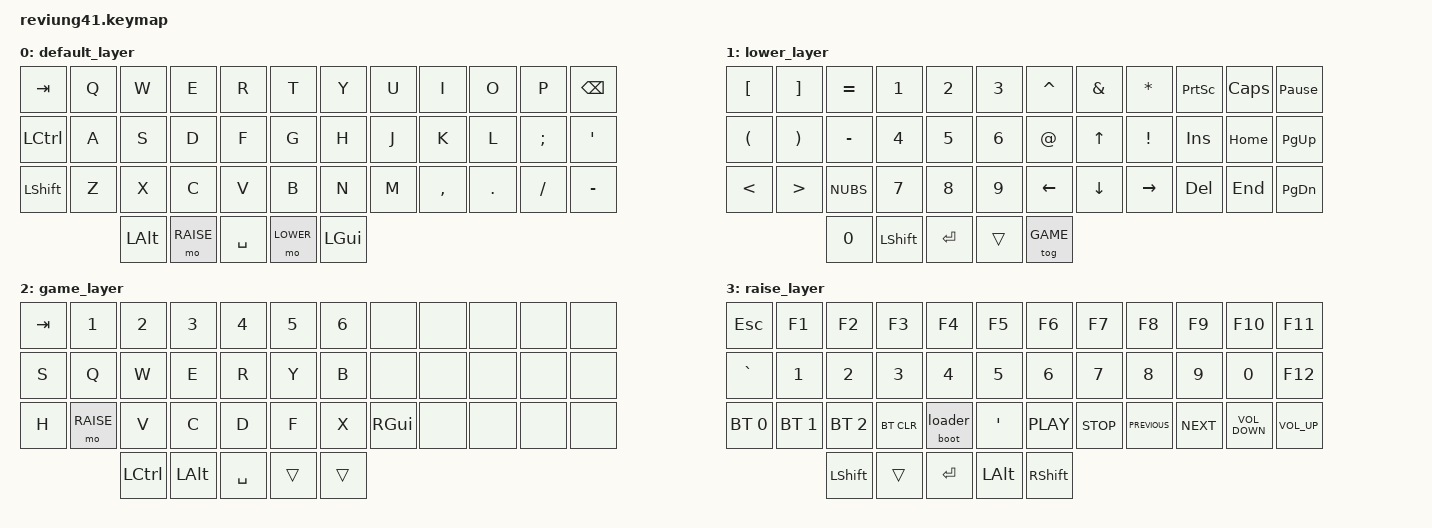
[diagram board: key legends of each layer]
/*
 * Copyright (c) 2020 The ZMK Contributors
 *
 * SPDX-License-Identifier: MIT
 */

#include <behaviors.dtsi>
#include <dt-bindings/zmk/keys.h>
#include <dt-bindings/zmk/bt.h>
#include <dt-bindings/zmk/rgb.h>

#define DEFAULT 0
#define LOWER   1
#define GAME    2
#define RAISE   3

/ {
        keymap {
                compatible = "zmk,keymap";

                default_layer {
// -------------------------------------------------------------------------------------
// |  TAB |  Q  |  W   |  E   |  R   |  T  |   |  Y  |  U   |  I   |  O   |  P  |   BKSP    |
// | CTRL |  A  |  S   |  D   |  F   |  G  |   |  H  |  J   |  K   |  L   |  ;  |    '      |
// | SHFT |  Z  |  X   |  C   |  V   |  B  |   |  N  |  M   |  ,   |  .   |  /  |    -      |
//                         | LALT | RSE |  SPACE  | LWR | COMMAND |
                        bindings = <
   &kp TAB   &kp Q &kp W      &kp E       &kp R       &kp T         &kp Y &kp U        &kp I       &kp O      &kp P    &kp BSPC
   &kp LCTRL &kp A &kp S      &kp D       &kp F       &kp G         &kp H &kp J        &kp K       &kp L      &kp SEMI &kp SQT
   &kp LSHFT &kp Z &kp X      &kp C       &kp V       &kp B         &kp N &kp M        &kp COMMA   &kp DOT    &kp FSLH &kp MINUS
                        &kp LALT &mo RAISE &kp SPACE &mo LOWER &kp LGUI
                        >;
                };

                lower_layer {
// ----------------------------------------------------------------------------------
// |  [ |  ]  |  =  |  1  |  2  |  3  |   |  ^  |  &  |  *  | PRNT | CAPS |  PAUSE  |
// |  ( |  )  |  -  |  4  |  5  |  6  |   |  @  |  UP |  !  | INSRT| HOME |  PAGEUP |
// |  < |  >  |  \  |  7  |  8  |  9  |   | LEFT| DOWN|RIGHT|  DEL | END  | PAGEDOWN|
//                     |  0 | LSHFT |  RET  | TRANS | TG GME |
                        bindings = <
   &kp LBKT     &kp RBKT    &kp EQUAL   &kp N1  &kp N2  &kp N3          &kp CARET   &kp AMPS    &kp STAR    &kp PRINTSCREEN     &kp CAPSLOCK    &kp PAUSE_BREAK
   &kp LPAR     &kp RPAR    &kp MINUS   &kp N4  &kp N5  &kp N6          &kp AT      &kp UP      &kp EXCL    &kp INSERT          &kp HOME        &kp PAGE_UP
   &kp LT       &kp GT      &kp NUBS    &kp N7  &kp N8  &kp N9          &kp LEFT    &kp DOWN    &kp RIGHT   &kp DELETE          &kp END         &kp PAGE_DOWN
                                            &kp N0  &kp LSHFT   &kp RET  &trans  &tog GAME
                        >;
                };

                game_layer {
// ----------------------------------------------------------------------------------
// |  TAB |  1  |  2  |  3  |  4  |  5  |   |  6  |     |     |     |     |     |
// |   S  |  Q  |  W  |  E  |  R  |  Y  |   |  B  |     |     |     |     |     |
// |   H  | RSE |  V  |  C  |  D  |  F  |   |  X  |     |     |     |     |     |
//                      | LCTRL| LALT | SPACE | RGUI |TG DEFAULT|
                        bindings = <
   &kp TAB &kp N1       &kp N2   &kp N3   &kp N4   &kp N5       &kp N6  &none     &none   &none   &none   &none
   &kp S   &kp Q        &kp W    &kp E    &kp R    &kp Y        &kp B   &none     &none   &none   &none   &none
   &kp H   &mo RAISE    &kp V    &kp C    &kp D    &kp F        &kp X   &kp RGUI  &none   &none   &none   &none
                                  &kp LCTRL   &kp LALT  &kp SPACE   &trans   &trans
                        >;
                };

                raise_layer {
// ----------------------------------------------------------------------------------
// | ESC |  F1 |  F2 |  F3 |  F4 |  F5 |   |  F6 |  F7 |  F8 |  F9 | F10 |    F11    |
// |  `  |  1  |  2  |  3  |  4  |  5  |   |  6  |  7  |  8  |  9  |  0  |    F12    |
// |     |     |     |     |     |  "  |   | PRSC| HOME| PGDN| PGUP| END | SHFT(RET) |
//                       |     | ADJ | BKSP |    |     |
                        bindings = <
   &kp ESC      &kp F1       &kp F2             &kp F3        &kp F4           &kp F5        &kp F6      &kp F7        &kp F8            &kp F9        &kp F10              &kp F11
   &kp GRAVE    &kp N1       &kp N2             &kp N3        &kp N4           &kp N5        &kp N6      &kp N7        &kp N8            &kp N9        &kp N0               &kp F12
   &bt BT_SEL 0 &bt BT_SEL 1 &bt BT_SEL 2       &bt BT_CLR    &boot loader     &kp SQT       &kp C_PLAY  &kp C_STOP    &kp C_PREVIOUS    &kp C_NEXT    &kp C_VOLUME_DOWN    &kp C_VOLUME_UP
                                                          &kp LSHFT      &trans       &kp RET        &kp LALT      &kp RSHFT
                        >;
                };
        };
};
